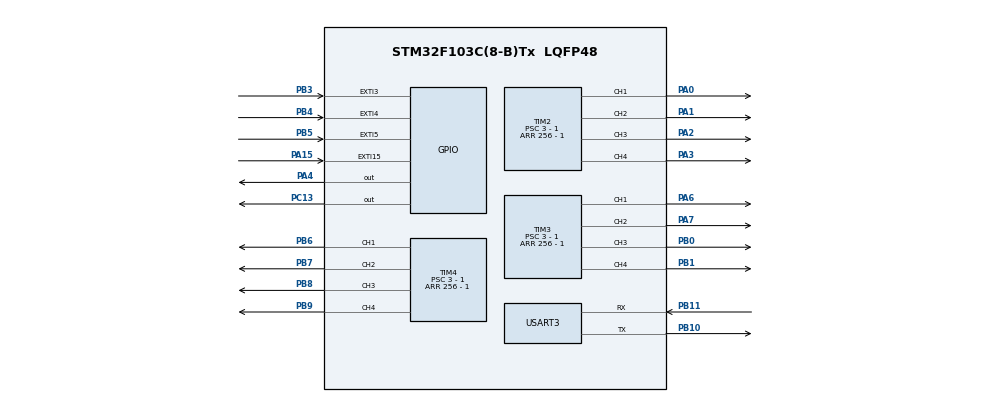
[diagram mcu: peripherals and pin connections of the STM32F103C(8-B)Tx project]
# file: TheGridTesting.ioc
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Mcu.Family=STM32F1
Mcu.Name=STM32F103C(8-B)Tx
Mcu.Package=LQFP48
NVIC.EXTI15_10_IRQn=true\:0\:0\:false\:false\:true\:true\:true\:true
NVIC.EXTI3_IRQn=true\:0\:0\:false\:false\:true\:true\:true\:true
NVIC.EXTI4_IRQn=true\:0\:0\:false\:false\:true\:true\:true\:true
NVIC.EXTI9_5_IRQn=true\:0\:0\:false\:false\:true\:true\:true\:true
NVIC.PriorityGroup=NVIC_PRIORITYGROUP_4
NVIC.USART3_IRQn=true\:0\:0\:false\:false\:true\:true\:true\:true
PA0-WKUP.Signal=S_TIM2_CH1_ETR
PA1.Signal=S_TIM2_CH2
PA15.GPIO_ModeDefaultEXTI=GPIO_MODE_IT_RISING
PA15.Signal=GPXTI15
PA2.Signal=S_TIM2_CH3
PA3.Signal=S_TIM2_CH4
PA4.Signal=GPIO_Output
PA6.Signal=S_TIM3_CH1
PA7.Signal=S_TIM3_CH2
PB0.Signal=S_TIM3_CH3
PB1.Signal=S_TIM3_CH4
PB10.Mode=Asynchronous
PB10.Signal=USART3_TX
PB11.Mode=Asynchronous
PB11.Signal=USART3_RX
PB3.Signal=GPXTI3
PB4.Signal=GPXTI4
PB5.Signal=GPXTI5
PB6.Signal=S_TIM4_CH1
PB7.Signal=S_TIM4_CH2
PB8.Signal=S_TIM4_CH3
PB9.Signal=S_TIM4_CH4
PC13-TAMPER-RTC.Signal=GPIO_Output
ProjectManager.HeapSize=0x200
ProjectManager.StackSize=0x400
ProjectManager.TargetToolchain=STM32CubeIDE
RCC.APB1Freq_Value=8000000
RCC.APB2Freq_Value=8000000
SH.S_TIM2_CH1_ETR.0=TIM2_CH1,PWM Generation1 CH1
SH.S_TIM2_CH2.0=TIM2_CH2,PWM Generation2 CH2
SH.S_TIM2_CH3.0=TIM2_CH3,PWM Generation3 CH3
SH.S_TIM2_CH4.0=TIM2_CH4,PWM Generation4 CH4
SH.S_TIM3_CH1.0=TIM3_CH1,PWM Generation1 CH1
SH.S_TIM3_CH2.0=TIM3_CH2,PWM Generation2 CH2
SH.S_TIM3_CH3.0=TIM3_CH3,PWM Generation3 CH3
SH.S_TIM3_CH4.0=TIM3_CH4,PWM Generation4 CH4
SH.S_TIM4_CH1.0=TIM4_CH1,PWM Generation1 CH1
SH.S_TIM4_CH2.0=TIM4_CH2,PWM Generation2 CH2
SH.S_TIM4_CH3.0=TIM4_CH3,PWM Generation3 CH3
SH.S_TIM4_CH4.0=TIM4_CH4,PWM Generation4 CH4
TIM2.Channel-PWM\ Generation1\ CH1=TIM_CHANNEL_1
TIM2.Channel-PWM\ Generation2\ CH2=TIM_CHANNEL_2
TIM2.Channel-PWM\ Generation3\ CH3=TIM_CHANNEL_3
TIM2.Channel-PWM\ Generation4\ CH4=TIM_CHANNEL_4
TIM2.Period=256 - 1
TIM2.Prescaler=3 - 1
TIM3.Channel-PWM\ Generation1\ CH1=TIM_CHANNEL_1
TIM3.Channel-PWM\ Generation2\ CH2=TIM_CHANNEL_2
TIM3.Channel-PWM\ Generation3\ CH3=TIM_CHANNEL_3
TIM3.Channel-PWM\ Generation4\ CH4=TIM_CHANNEL_4
TIM3.Period=256 - 1
TIM3.Prescaler=3 - 1
TIM4.Channel-PWM\ Generation1\ CH1=TIM_CHANNEL_1
TIM4.Channel-PWM\ Generation2\ CH2=TIM_CHANNEL_2
TIM4.Channel-PWM\ Generation3\ CH3=TIM_CHANNEL_3
TIM4.Channel-PWM\ Generation4\ CH4=TIM_CHANNEL_4
TIM4.Period=256 - 1
TIM4.Prescaler=3 - 1
USART3.VirtualMode=VM_ASYNC
VP_SYS_VS_ND.Mode=No_Debug
board=custom

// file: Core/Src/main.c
/* USER CODE BEGIN Header */
/**
  ******************************************************************************
  * @file           : main.c
  * @brief          : Main program body
  ******************************************************************************
  * @attention
  *
  * Copyright (c) 2026 STMicroelectronics.
  * All rights reserved.
  *
  * This software is licensed under terms that can be found in the LICENSE file
  * in the root directory of this software component.
  * If no LICENSE file comes with this software, it is provided AS-IS.
  *
  ******************************************************************************
  */

/*
PB1 -> TIM3_CH4 (R1)
PB0 -> TIM3_CH3 (G1)
PA7 -> TIM3_CH2 (B1)

PA6 -> TIM3_CH1 (R2)
PB6 -> TIM4_CH1 (G2)
PB7 -> TIM4_CH2 (B2)

PA2 -> TIM2_CH3 (R3)
PA1 -> TIM2_CH2 (G3)
PA0 -> TIM2_CH1 (B3)

PB8 -> TIM4_CH3 (R4)
PB9 -> TIM4_CH4 (G4)
PA3 -> TIM2_CH4 (B4)
*/

/* USER CODE END Header */
#include "main.h"

/* USER CODE BEGIN PD */

uint8_t onboard_led = 0;

/* USER CODE END PD */

TIM_HandleTypeDef htim2;
TIM_HandleTypeDef htim3;
TIM_HandleTypeDef htim4;

UART_HandleTypeDef huart3;

void SystemClock_Config(void);
static void MX_GPIO_Init(void);
static void MX_TIM2_Init(void);
static void MX_TIM3_Init(void);
static void MX_TIM4_Init(void);
static void MX_USART3_UART_Init(void);

/* USER CODE BEGIN 0 */

void set_rgb(uint8_t r, uint8_t g, uint8_t b)
{
    __HAL_TIM_SET_COMPARE(&htim3, TIM_CHANNEL_4, r);
    __HAL_TIM_SET_COMPARE(&htim3, TIM_CHANNEL_3, g);
    __HAL_TIM_SET_COMPARE(&htim3, TIM_CHANNEL_2, b);
}

/* USER CODE END 0 */

int main(void)
{

  /* MCU Configuration--------------------------------------------------------*/

  /* Reset of all peripherals, Initializes the Flash interface and the Systick. */
  HAL_Init();

  /* Configure the system clock */
  SystemClock_Config();

  /* Initialize all configured peripherals */
  MX_GPIO_Init();
  MX_TIM2_Init();
  MX_TIM3_Init();
  MX_TIM4_Init();
  MX_USART3_UART_Init();
  /* USER CODE BEGIN 2 */

  /* Enable PWM Timers */
  HAL_TIM_PWM_Start(&htim2, TIM_CHANNEL_1);
  HAL_TIM_PWM_Start(&htim2, TIM_CHANNEL_2);
  HAL_TIM_PWM_Start(&htim2, TIM_CHANNEL_3);
  HAL_TIM_PWM_Start(&htim2, TIM_CHANNEL_4);

  HAL_TIM_PWM_Start(&htim3, TIM_CHANNEL_1);
  HAL_TIM_PWM_Start(&htim3, TIM_CHANNEL_2);
  HAL_TIM_PWM_Start(&htim3, TIM_CHANNEL_3);
  HAL_TIM_PWM_Start(&htim3, TIM_CHANNEL_4);

  HAL_TIM_PWM_Start(&htim4, TIM_CHANNEL_1);
  HAL_TIM_PWM_Start(&htim4, TIM_CHANNEL_2);
  HAL_TIM_PWM_Start(&htim4, TIM_CHANNEL_3);
  HAL_TIM_PWM_Start(&htim4, TIM_CHANNEL_4);

  /* USER CODE END 2 */

  /* Infinite loop */
  while (1)
  {
	/* USER CODE BEGIN 3 */
	if (onboard_led) {
		// in while(1)
		static uint8_t hue = 0;

		// HSV to RGB, S=255 V=255
		uint8_t region = hue / 43;
		uint8_t remainder = (hue - region * 43) * 6;
		uint8_t q = 255 - remainder;
		uint8_t t = remainder;

		uint8_t r, g, b;
		switch (region) {
		    case 0: r=255; g=t;   b=0;   break;
		    case 1: r=q;   g=255; b=0;   break;
		    case 2: r=0;   g=255; b=t;   break;
		    case 3: r=0;   g=q;   b=255; break;
		    case 4: r=t;   g=0;   b=255; break;
		    default:r=255; g=0;   b=q;   break;
		}

		set_rgb(r, g, b);
		hue++;  // wraps at 256 automatically (uint8_t)

		HAL_Delay(5);
	}
	else {
		set_rgb(0, 0, 0);
	}
  }
  /* USER CODE END 3 */
}

void SystemClock_Config(void)
{
  RCC_OscInitTypeDef RCC_OscInitStruct = {0};
  RCC_ClkInitTypeDef RCC_ClkInitStruct = {0};

  /** Initializes the RCC Oscillators according to the specified parameters
  * in the RCC_OscInitTypeDef structure.
  */
  RCC_OscInitStruct.OscillatorType = RCC_OSCILLATORTYPE_HSI;
  RCC_OscInitStruct.HSIState = RCC_HSI_ON;
  RCC_OscInitStruct.HSICalibrationValue = RCC_HSICALIBRATION_DEFAULT;
  RCC_OscInitStruct.PLL.PLLState = RCC_PLL_NONE;
  if (HAL_RCC_OscConfig(&RCC_OscInitStruct) != HAL_OK)
  {
    Error_Handler();
  }

  /** Initializes the CPU, AHB and APB buses clocks
  */
  RCC_ClkInitStruct.ClockType = RCC_CLOCKTYPE_HCLK|RCC_CLOCKTYPE_SYSCLK
                              |RCC_CLOCKTYPE_PCLK1|RCC_CLOCKTYPE_PCLK2;
  RCC_ClkInitStruct.SYSCLKSource = RCC_SYSCLKSOURCE_HSI;
  RCC_ClkInitStruct.AHBCLKDivider = RCC_SYSCLK_DIV1;
  RCC_ClkInitStruct.APB1CLKDivider = RCC_HCLK_DIV1;
  RCC_ClkInitStruct.APB2CLKDivider = RCC_HCLK_DIV1;

  if (HAL_RCC_ClockConfig(&RCC_ClkInitStruct, FLASH_LATENCY_0) != HAL_OK)
  {
    Error_Handler();
  }
}

static void MX_TIM2_Init(void)
{

  TIM_MasterConfigTypeDef sMasterConfig = {0};
  TIM_OC_InitTypeDef sConfigOC = {0};

  htim2.Instance = TIM2;
  htim2.Init.Prescaler = 3 - 1;
  htim2.Init.CounterMode = TIM_COUNTERMODE_UP;
  htim2.Init.Period = 256 - 1;
  htim2.Init.ClockDivision = TIM_CLOCKDIVISION_DIV1;
  htim2.Init.AutoReloadPreload = TIM_AUTORELOAD_PRELOAD_DISABLE;
  if (HAL_TIM_PWM_Init(&htim2) != HAL_OK)
  {
    Error_Handler();
  }
  sMasterConfig.MasterOutputTrigger = TIM_TRGO_RESET;
  sMasterConfig.MasterSlaveMode = TIM_MASTERSLAVEMODE_DISABLE;
  if (HAL_TIMEx_MasterConfigSynchronization(&htim2, &sMasterConfig) != HAL_OK)
  {
    Error_Handler();
  }
  sConfigOC.OCMode = TIM_OCMODE_PWM1;
  sConfigOC.Pulse = 0;
  sConfigOC.OCPolarity = TIM_OCPOLARITY_HIGH;
  sConfigOC.OCFastMode = TIM_OCFAST_DISABLE;
  if (HAL_TIM_PWM_ConfigChannel(&htim2, &sConfigOC, TIM_CHANNEL_1) != HAL_OK)
  {
    Error_Handler();
  }
  if (HAL_TIM_PWM_ConfigChannel(&htim2, &sConfigOC, TIM_CHANNEL_2) != HAL_OK)
  {
    Error_Handler();
  }
  if (HAL_TIM_PWM_ConfigChannel(&htim2, &sConfigOC, TIM_CHANNEL_3) != HAL_OK)
  {
    Error_Handler();
  }
  if (HAL_TIM_PWM_ConfigChannel(&htim2, &sConfigOC, TIM_CHANNEL_4) != HAL_OK)
  {
    Error_Handler();
  }
  HAL_TIM_MspPostInit(&htim2);

}

static void MX_TIM3_Init(void)
{

  TIM_MasterConfigTypeDef sMasterConfig = {0};
  TIM_OC_InitTypeDef sConfigOC = {0};

  htim3.Instance = TIM3;
  htim3.Init.Prescaler = 3 - 1;
  htim3.Init.CounterMode = TIM_COUNTERMODE_UP;
  htim3.Init.Period = 256 - 1;
  htim3.Init.ClockDivision = TIM_CLOCKDIVISION_DIV1;
  htim3.Init.AutoReloadPreload = TIM_AUTORELOAD_PRELOAD_DISABLE;
  if (HAL_TIM_PWM_Init(&htim3) != HAL_OK)
  {
    Error_Handler();
  }
  sMasterConfig.MasterOutputTrigger = TIM_TRGO_RESET;
  sMasterConfig.MasterSlaveMode = TIM_MASTERSLAVEMODE_DISABLE;
  if (HAL_TIMEx_MasterConfigSynchronization(&htim3, &sMasterConfig) != HAL_OK)
  {
    Error_Handler();
  }
  sConfigOC.OCMode = TIM_OCMODE_PWM1;
  sConfigOC.Pulse = 0;
  sConfigOC.OCPolarity = TIM_OCPOLARITY_HIGH;
  sConfigOC.OCFastMode = TIM_OCFAST_DISABLE;
  if (HAL_TIM_PWM_ConfigChannel(&htim3, &sConfigOC, TIM_CHANNEL_1) != HAL_OK)
  {
    Error_Handler();
  }
  if (HAL_TIM_PWM_ConfigChannel(&htim3, &sConfigOC, TIM_CHANNEL_2) != HAL_OK)
  {
    Error_Handler();
  }
  if (HAL_TIM_PWM_ConfigChannel(&htim3, &sConfigOC, TIM_CHANNEL_3) != HAL_OK)
  {
    Error_Handler();
  }
  if (HAL_TIM_PWM_ConfigChannel(&htim3, &sConfigOC, TIM_CHANNEL_4) != HAL_OK)
  {
    Error_Handler();
  }
  HAL_TIM_MspPostInit(&htim3);

}

static void MX_TIM4_Init(void)
{

  TIM_MasterConfigTypeDef sMasterConfig = {0};
  TIM_OC_InitTypeDef sConfigOC = {0};

  htim4.Instance = TIM4;
  htim4.Init.Prescaler = 3 - 1;
  htim4.Init.CounterMode = TIM_COUNTERMODE_UP;
  htim4.Init.Period = 256 - 1;
  htim4.Init.ClockDivision = TIM_CLOCKDIVISION_DIV1;
  htim4.Init.AutoReloadPreload = TIM_AUTORELOAD_PRELOAD_DISABLE;
  if (HAL_TIM_PWM_Init(&htim4) != HAL_OK)
  {
    Error_Handler();
  }
  sMasterConfig.MasterOutputTrigger = TIM_TRGO_RESET;
  sMasterConfig.MasterSlaveMode = TIM_MASTERSLAVEMODE_DISABLE;
  if (HAL_TIMEx_MasterConfigSynchronization(&htim4, &sMasterConfig) != HAL_OK)
  {
    Error_Handler();
  }
  sConfigOC.OCMode = TIM_OCMODE_PWM1;
  sConfigOC.Pulse = 0;
  sConfigOC.OCPolarity = TIM_OCPOLARITY_HIGH;
  sConfigOC.OCFastMode = TIM_OCFAST_DISABLE;
  if (HAL_TIM_PWM_ConfigChannel(&htim4, &sConfigOC, TIM_CHANNEL_1) != HAL_OK)
  {
    Error_Handler();
  }
  if (HAL_TIM_PWM_ConfigChannel(&htim4, &sConfigOC, TIM_CHANNEL_2) != HAL_OK)
  {
    Error_Handler();
  }
  if (HAL_TIM_PWM_ConfigChannel(&htim4, &sConfigOC, TIM_CHANNEL_3) != HAL_OK)
  {
    Error_Handler();
  }
  if (HAL_TIM_PWM_ConfigChannel(&htim4, &sConfigOC, TIM_CHANNEL_4) != HAL_OK)
  {
    Error_Handler();
  }
  HAL_TIM_MspPostInit(&htim4);

}

static void MX_USART3_UART_Init(void)
{

  huart3.Instance = USART3;
  huart3.Init.BaudRate = 115200;
  huart3.Init.WordLength = UART_WORDLENGTH_8B;
  huart3.Init.StopBits = UART_STOPBITS_1;
  huart3.Init.Parity = UART_PARITY_NONE;
  huart3.Init.Mode = UART_MODE_TX_RX;
  huart3.Init.HwFlowCtl = UART_HWCONTROL_NONE;
  huart3.Init.OverSampling = UART_OVERSAMPLING_16;
  if (HAL_UART_Init(&huart3) != HAL_OK)
  {
    Error_Handler();
  }

}

static void MX_GPIO_Init(void)
{
  GPIO_InitTypeDef GPIO_InitStruct = {0};

  /* GPIO Ports Clock Enable */
  __HAL_RCC_GPIOC_CLK_ENABLE();
  __HAL_RCC_GPIOA_CLK_ENABLE();
  __HAL_RCC_GPIOB_CLK_ENABLE();

  /*Configure GPIO pin Output Level */
  HAL_GPIO_WritePin(GPIOC, GPIO_PIN_13, GPIO_PIN_RESET);

  /*Configure GPIO pin Output Level */
  HAL_GPIO_WritePin(GPIOA, GPIO_PIN_4, GPIO_PIN_RESET);

  /*Configure GPIO pin : PC13 */
  GPIO_InitStruct.Pin = GPIO_PIN_13;
  GPIO_InitStruct.Mode = GPIO_MODE_OUTPUT_PP;
  GPIO_InitStruct.Pull = GPIO_NOPULL;
  GPIO_InitStruct.Speed = GPIO_SPEED_FREQ_LOW;
  HAL_GPIO_Init(GPIOC, &GPIO_InitStruct);

  /*Configure GPIO pin : PA4 */
  GPIO_InitStruct.Pin = GPIO_PIN_4;
  GPIO_InitStruct.Mode = GPIO_MODE_OUTPUT_PP;
  GPIO_InitStruct.Pull = GPIO_NOPULL;
  GPIO_InitStruct.Speed = GPIO_SPEED_FREQ_LOW;
  HAL_GPIO_Init(GPIOA, &GPIO_InitStruct);

  /*Configure GPIO pin : PA15 */
  GPIO_InitStruct.Pin = GPIO_PIN_15;
  GPIO_InitStruct.Mode = GPIO_MODE_IT_RISING;
  GPIO_InitStruct.Pull = GPIO_NOPULL;
  HAL_GPIO_Init(GPIOA, &GPIO_InitStruct);

  /*Configure GPIO pins : PB3 PB4 PB5 */
  GPIO_InitStruct.Pin = GPIO_PIN_3|GPIO_PIN_4|GPIO_PIN_5;
  GPIO_InitStruct.Mode = GPIO_MODE_IT_RISING;
  GPIO_InitStruct.Pull = GPIO_NOPULL;
  HAL_GPIO_Init(GPIOB, &GPIO_InitStruct);

  /* EXTI interrupt init*/
  HAL_NVIC_SetPriority(EXTI3_IRQn, 0, 0);
  HAL_NVIC_EnableIRQ(EXTI3_IRQn);

  HAL_NVIC_SetPriority(EXTI4_IRQn, 0, 0);
  HAL_NVIC_EnableIRQ(EXTI4_IRQn);

  HAL_NVIC_SetPriority(EXTI9_5_IRQn, 0, 0);
  HAL_NVIC_EnableIRQ(EXTI9_5_IRQn);

  HAL_NVIC_SetPriority(EXTI15_10_IRQn, 0, 0);
  HAL_NVIC_EnableIRQ(EXTI15_10_IRQn);

}

/* USER CODE BEGIN 4 */

void HAL_GPIO_EXTI_Callback(uint16_t GPIO_Pin)
{
    if (GPIO_Pin == GPIO_PIN_15)
    {
        static uint32_t last_tick = 0;
        if (HAL_GetTick() - last_tick > 100)
        {
            onboard_led = !onboard_led;
            last_tick = HAL_GetTick();
        }
    }
}

/* USER CODE END 4 */

void Error_Handler(void)
{
  __disable_irq();
  while (1)
  {
  }
}
